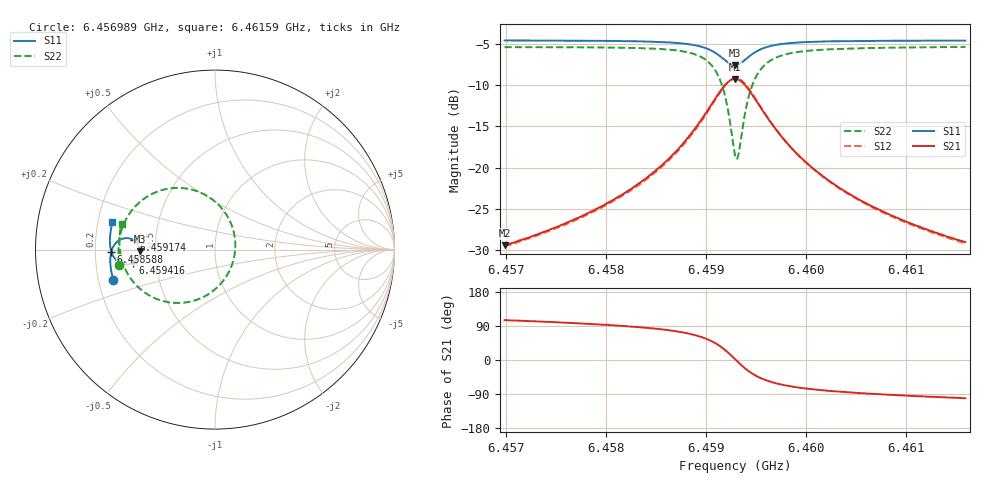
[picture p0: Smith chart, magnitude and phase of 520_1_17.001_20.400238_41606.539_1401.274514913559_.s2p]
#  HZ  S  RI  R  50.00
! Rohde & Schwarz Vector Network Analyzer
! Rohde-Schwarz,ZNB20-2Port,1311601062101988,3.16
! Created: UTC 3/20/2024, 11:15:21 PM
! freq[Hz]  re:S11  im:S11  re:S21  im:S21  re:S12  im:S12  re:S22  im:S22
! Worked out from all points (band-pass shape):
!   401 points, 6.456989 GHz to 6.46159 GHz, reference 50 ohm
!   highest |S21| = -9.22 dB at 6.459289 GHz (marker M1); lowest = -29.4 dB at 6.456989 GHz (marker M2)
!   |S21| within 3 dB of the highest: 6.459059 GHz to 6.45952 GHz (460.1 kHz wide, 0.00712 % of centre)
!   lowest |S11| = -7.6 dB at 6.459289 GHz (marker M3), VSWR 2.44, Z = 20.5 - j0.467 ohm
!   |S11| at or under -10 dB: nowhere
!   |S22| runs from -19.0 to -5.3 dB; largest |S21 - S12| = 0.014
!   S11 on the Smith chart (normalised r, x): 6.456989 GHz: 0.26, -0.14; 6.458588 GHz: 0.27, -0.01; 6.459174 GHz: 0.37, +0.05; 6.459416 GHz: 0.37, -0.07; 6.46159 GHz: 0.26, +0.12
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6.4569888e9  -0.567 -0.1713  -0.00891 0.0326  -0.00713 0.0325  -0.5328 -0.0839
6.4577594e9  -0.5808 -0.1039  -0.00555 0.0504  -0.00301 0.0498  -0.5381 0.00634
6.4581735e9  -0.5837 -0.0625  0.000237 0.0691  0.0034 0.0678  -0.5302 0.0717
6.4585301e9  -0.5798 -0.02  0.0144 0.0988  0.0183 0.096  -0.5042 0.1516
6.4585876e9  -0.578 -0.0121  0.0188 0.1056  0.0227 0.1024  -0.496 0.1682
6.4587946e9  -0.565 0.02  0.0463 0.138  0.0503 0.133  -0.4442 0.2408
6.4589442e9  -0.5423 0.0462  0.0916 0.1684  0.0948 0.1618  -0.3607 0.3052
6.4590822e9  -0.4986 0.0638  0.1787 0.1849  0.1796 0.1775  -0.201 0.3439
6.4591742e9  -0.454 0.0535  0.2687 0.1536  0.2689 0.1478  -0.0346 0.2933
6.4592432e9  -0.4249 0.0216  0.3292 0.0817  0.3313 0.0764  0.081 0.1635
6.4592892e9  -0.4181 -0.00939  0.3455 0.0138  0.3493 0.00696  0.1132 0.0365
6.4593007e9  -0.4185 -0.0175  0.3452 -0.00409  0.3491 -0.0116  0.1128 0.00283
6.4593237e9  -0.422 -0.0332  0.3397 -0.0388  0.3436 -0.0479  0.1016 -0.0631
6.4593697e9  -0.4376 -0.0592  0.3111 -0.0987  0.3133 -0.1107  0.0438 -0.1766
6.4594158e9  -0.4596 -0.0755  0.269 -0.1396  0.2681 -0.153  -0.0415 -0.2515
6.4595078e9  -0.503 -0.0823  0.184 -0.1709  0.1779 -0.1824  -0.2109 -0.2973
6.4596573e9  -0.5469 -0.0618  0.0961 -0.1569  0.0875 -0.163  -0.3788 -0.2475
6.4598183e9  -0.5684 -0.034  0.0512 -0.1288  0.0436 -0.1316  -0.4593 -0.1751
6.4600599e9  -0.581 0.0015  0.0222 -0.0973  0.0163 -0.0979  -0.507 -0.0925
6.4604049e9  -0.5856 0.0426  0.00618 -0.0703  0.00208 -0.0699  -0.5283 -0.0132
6.4608305e9  -0.5835 0.0853  -0.00154 -0.0519  -0.00429 -0.0511  -0.5324 0.055
6.4615896e9  -0.5711 0.1525  -0.00671 -0.0345  -0.00836 -0.0335  -0.5209 0.1448
